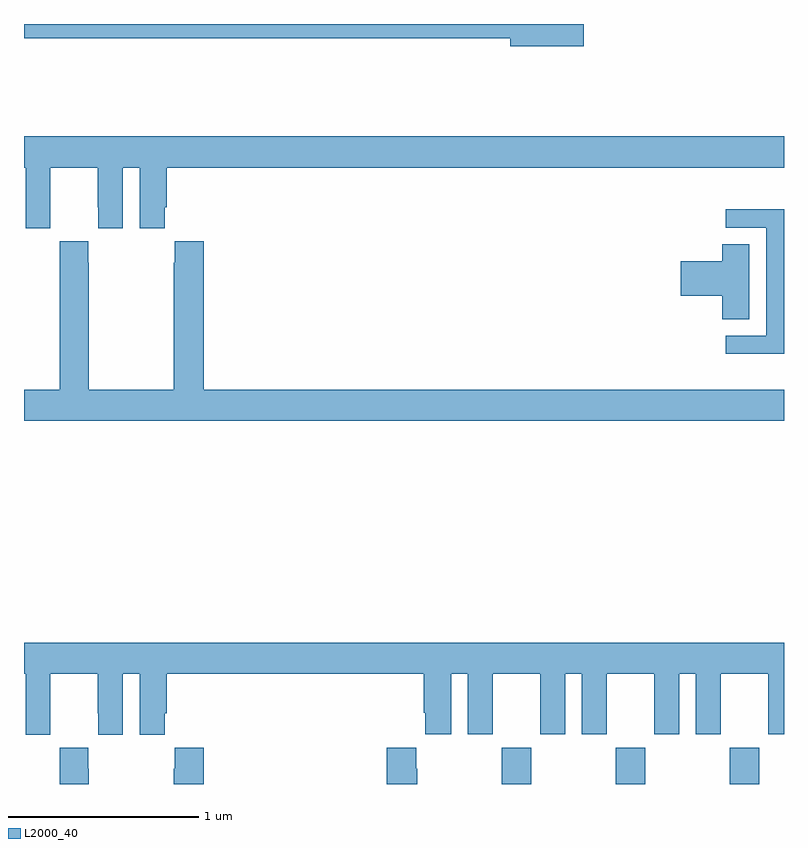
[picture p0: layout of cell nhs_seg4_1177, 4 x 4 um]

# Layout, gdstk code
import gdstk
lib = gdstk.Library(unit=1e-6, precision=1e-09)
def R(c, l, rs):  # rectangles x0, y0, x1, y1
    for r in rs: c.add(gdstk.rectangle(r[:2], r[2:], *l))
def A(c, l, x, y, w, h, nx, ny, dx, dy):  # array of equal rectangles
    R(c, l, [(x+i*dx, y+j*dy, x+i*dx+w, y+j*dy+h) for i in range(nx) for j in range(ny)])
def P(c, l, *ps):  # polygons
    for p in ps: c.add(gdstk.Polygon(p, *l))
L2000_40 = (2000, 40)

nhs_seg4_1177 = lib.new_cell('nhs_seg4_1177')
A(nhs_seg4_1177, L2000_40, 173.515, 802.9, 0.155, 0.192, 3, 1, 0.6, 0)
P(nhs_seg4_1177, L2000_40, [(173.947,806.9),(171,806.9),(171,806.824),(173.558,806.824),(173.558,806.782),(173.947,806.782)],
  [(171.138,805.936),(171.139,805.936),(171.139,806.144),(171.389,806.144),(171.389,805.936),(171.39,805.936),(171.39,805.824),(171.52,805.824),(171.52,806.144),(171.608,806.144),(171.608,805.824),(171.742,805.824),(171.742,805.936),(171.752,805.936),(171.752,806.144),(175,806.144),(175,806.308),(171,806.308),(171,806.144),(171.008,806.144),(171.008,805.824),(171.138,805.824)],
  [(175,805.926),(174.693,805.926),(174.693,805.827),(174.906,805.827),(174.906,805.26),(174.693,805.26),(174.693,805.164),(175,805.164)],
  [(175,804.976),(171.947,804.976),(171.947,805.756),(171.793,805.756),(171.793,805.643),(171.787,805.643),(171.787,804.976),(171.342,804.976),(171.342,805.643),(171.339,805.643),(171.339,805.756),(171.189,805.756),(171.189,805.643),(171.187,805.643),(171.187,804.976),(171,804.976),(171,804.812),(175,804.812)],
  [(174.817,805.742),(174.674,805.742),(174.674,805.652),(174.456,805.652),(174.456,805.469),(174.674,805.469),(174.674,805.345),(174.817,805.345)],
  [(171.138,803.272),(171.139,803.272),(171.139,803.48),(171.389,803.48),(171.389,803.272),(171.39,803.272),(171.39,803.16),(171.52,803.16),(171.52,803.48),(171.608,803.48),(171.608,803.16),(171.742,803.16),(171.742,803.272),(171.752,803.272),(171.752,803.48),(173.105,803.48),(173.105,803.275),(173.111,803.275),(173.111,803.163),(173.248,803.163),(173.248,803.48),(173.336,803.48),(173.336,803.163),(173.467,803.163),(173.467,803.48),(173.717,803.48),(173.717,803.163),(173.848,803.163),(173.848,803.48),(173.936,803.48),(173.936,803.163),(174.067,803.163),(174.067,803.48),(174.317,803.48),(174.317,803.163),(174.448,803.163),(174.448,803.48),(174.536,803.48),(174.536,803.163),(174.667,803.163),(174.667,803.48),(174.917,803.48),(174.917,803.163),(175,803.163),(175,803.644),(171,803.644),(171,803.48),(171.008,803.48),(171.008,803.16),(171.138,803.16)],
  [(173.07,802.979),(173.065,802.979),(173.065,803.092),(172.91,803.092),(172.91,802.9),(173.07,802.9)],
  [(171.342,802.979),(171.339,802.979),(171.339,803.092),(171.189,803.092),(171.189,802.979),(171.187,802.979),(171.187,802.9),(171.342,802.9)],
  [(171.947,803.092),(171.793,803.092),(171.793,802.979),(171.787,802.979),(171.787,802.9),(171.947,802.9)])

lib.write_gds('nhs_seg4_1177.gds')
